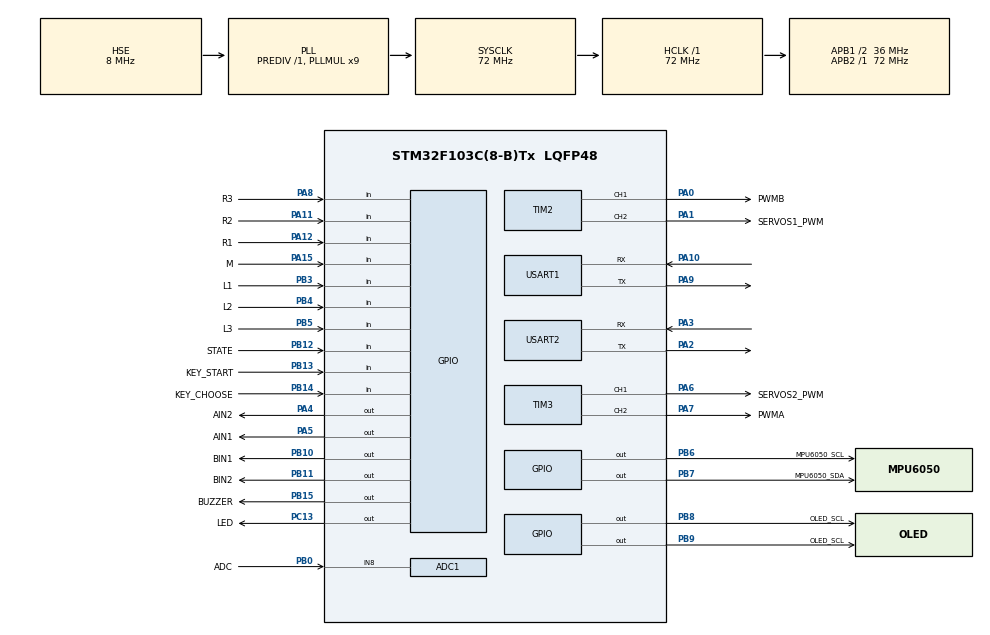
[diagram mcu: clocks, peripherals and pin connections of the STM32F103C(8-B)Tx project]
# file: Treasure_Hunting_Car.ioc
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ADC1.Channel-0\#ChannelRegularConversion=ADC_CHANNEL_8
ADC1.NbrOfConversionFlag=1
ADC1.Rank-0\#ChannelRegularConversion=1
ADC1.SamplingTime-0\#ChannelRegularConversion=ADC_SAMPLETIME_1CYCLE_5
ADC1.master=1
Mcu.Family=STM32F1
Mcu.Name=STM32F103C(8-B)Tx
Mcu.Package=LQFP48
NVIC.PriorityGroup=NVIC_PRIORITYGROUP_4
NVIC.USART1_IRQn=true\:0\:0\:false\:false\:true\:true\:true\:true
NVIC.USART2_IRQn=true\:0\:0\:false\:false\:true\:true\:true\:true
PA0-WKUP.GPIO_Label=PWMB
PA0-WKUP.Signal=S_TIM2_CH1_ETR
PA1.GPIO_Label=SERVOS1_PWM
PA1.Signal=S_TIM2_CH2
PA10.Mode=Asynchronous
PA10.Signal=USART1_RX
PA11.GPIO_Label=R2
PA11.Signal=GPIO_Input
PA12.GPIO_Label=R1
PA12.Signal=GPIO_Input
PA13.Mode=Serial_Wire
PA13.Signal=SYS_JTMS-SWDIO
PA14.Mode=Serial_Wire
PA14.Signal=SYS_JTCK-SWCLK
PA15.GPIO_Label=M
PA15.Signal=GPIO_Input
PA2.Mode=Asynchronous
PA2.Signal=USART2_TX
PA3.Mode=Asynchronous
PA3.Signal=USART2_RX
PA4.GPIO_Label=AIN2
PA4.Signal=GPIO_Output
PA5.GPIO_Label=AIN1
PA5.Signal=GPIO_Output
PA6.GPIO_Label=SERVOS2_PWM
PA6.Signal=S_TIM3_CH1
PA7.GPIO_Label=PWMA
PA7.Signal=S_TIM3_CH2
PA8.GPIO_Label=R3
PA8.Signal=GPIO_Input
PA9.Mode=Asynchronous
PA9.Signal=USART1_TX
PB0.GPIO_Label=ADC
PB0.Signal=ADCx_IN8
PB10.GPIO_Label=BIN1
PB10.Signal=GPIO_Output
PB11.GPIO_Label=BIN2
PB11.Signal=GPIO_Output
PB12.GPIO_Label=STATE
PB12.Signal=GPIO_Input
PB13.GPIO_Label=KEY_START
PB13.GPIO_PuPd=GPIO_PULLUP
PB13.Signal=GPIO_Input
PB14.GPIO_Label=KEY_CHOOSE
PB14.GPIO_PuPd=GPIO_PULLUP
PB14.Signal=GPIO_Input
PB15.GPIO_Label=BUZZER
PB15.Signal=GPIO_Output
PB3.GPIO_Label=L1
PB3.Signal=GPIO_Input
PB4.GPIO_Label=L2
PB4.Signal=GPIO_Input
PB5.GPIO_Label=L3
PB5.Signal=GPIO_Input
PB6.GPIO_Label=MPU6050_SCL
PB6.Signal=GPIO_Output
PB7.GPIO_Label=MPU6050_SDA
PB7.Signal=GPIO_Output
PB8.GPIO_Label=OLED_SCL
PB8.GPIO_ModeDefaultOutputPP=GPIO_MODE_OUTPUT_OD
PB8.GPIO_PuPd=GPIO_NOPULL
PB8.GPIO_Speed=GPIO_SPEED_FREQ_HIGH
PB8.PinState=GPIO_PIN_SET
PB8.Signal=GPIO_Output
PB9.GPIO_Label=OLED_SCL
PB9.GPIO_ModeDefaultOutputPP=GPIO_MODE_OUTPUT_OD
PB9.GPIO_PuPd=GPIO_NOPULL
PB9.GPIO_Speed=GPIO_SPEED_FREQ_HIGH
PB9.PinState=GPIO_PIN_SET
PB9.Signal=GPIO_Output
PC13-TAMPER-RTC.GPIO_Label=LED
PC13-TAMPER-RTC.Signal=GPIO_Output
PD0-OSC_IN.Mode=HSE-External-Oscillator
PD0-OSC_IN.Signal=RCC_OSC_IN
PD1-OSC_OUT.Mode=HSE-External-Oscillator
PD1-OSC_OUT.Signal=RCC_OSC_OUT
ProjectManager.HeapSize=0x200
ProjectManager.StackSize=0x400
ProjectManager.TargetToolchain=MDK-ARM V5.32
RCC.ADCPresc=RCC_ADCPCLK2_DIV6
RCC.AHBFreq_Value=72000000
RCC.APB1CLKDivider=RCC_HCLK_DIV2
RCC.APB1Freq_Value=36000000
RCC.APB1TimFreq_Value=72000000
RCC.APB2Freq_Value=72000000
RCC.APB2TimFreq_Value=72000000
RCC.HCLKFreq_Value=72000000
RCC.PLLMUL=RCC_PLL_MUL9
RCC.PLLSourceVirtual=RCC_PLLSOURCE_HSE
RCC.SYSCLKFreq_VALUE=72000000
RCC.SYSCLKSource=RCC_SYSCLKSOURCE_PLLCLK
RCC.USBFreq_Value=72000000
SH.ADCx_IN8.0=ADC1_IN8,IN8
SH.S_TIM2_CH1_ETR.0=TIM2_CH1,PWM Generation1 CH1
SH.S_TIM2_CH2.0=TIM2_CH2,PWM Generation2 CH2
SH.S_TIM3_CH1.0=TIM3_CH1,PWM Generation1 CH1
SH.S_TIM3_CH2.0=TIM3_CH2,PWM Generation2 CH2
TIM2.Channel-PWM\ Generation1\ CH1=TIM_CHANNEL_1
TIM2.Channel-PWM\ Generation2\ CH2=TIM_CHANNEL_2
TIM3.Channel-PWM\ Generation1\ CH1=TIM_CHANNEL_1
TIM3.Channel-PWM\ Generation2\ CH2=TIM_CHANNEL_2
USART1.VirtualMode=VM_ASYNC
USART2.VirtualMode=VM_ASYNC
VP_TIM2_VS_ClockSourceINT.Mode=Internal
board=custom

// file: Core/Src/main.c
/* USER CODE BEGIN Header */
/**
  ******************************************************************************
  * @file           : main.c
  * @brief          : Main program body
  ******************************************************************************
  * @attention
  *
  * Copyright (c) 2023 STMicroelectronics.
  * All rights reserved.
  *
  * This software is licensed under terms that can be found in the LICENSE file
  * in the root directory of this software component.
  * If no LICENSE file comes with this software, it is provided AS-IS.
  *
  ******************************************************************************
  */
/* USER CODE END Header */
#include "main.h"
#include "adc.h"
#include "tim.h"
#include "usart.h"
#include "gpio.h"

/* USER CODE BEGIN Includes */
#include "OLED.h"
#include "delay.h"
#include "string.h"
#include "mpu6050.h"
/* USER CODE END Includes */

void SystemClock_Config(void);

int main(void)
{

  /* MCU Configuration--------------------------------------------------------*/

  /* Reset of all peripherals, Initializes the Flash interface and the Systick. */
  HAL_Init();

  /* Configure the system clock */
  SystemClock_Config();

  /* Initialize all configured peripherals */
  MX_GPIO_Init();
  MX_ADC1_Init();
  MX_TIM2_Init();
  MX_TIM3_Init();
  MX_USART1_UART_Init();
  MX_USART2_UART_Init();
  /* USER CODE BEGIN 2 */
	delay_init(72);
	IIC_Init();
	MPU6050_initialize();     //=====MPU6050初始化
	DMP_Init();
	OLED_Init();
	float Pitch,Roll,Yaw;
	char string[8];
  /* USER CODE END 2 */

  /* Infinite loop */
  while (1)
  {

    /* USER CODE BEGIN 3 */
	  Read_DMP(&Pitch,&Roll,&Yaw);
	  sprintf((char *)string,"%.3f",Pitch);
	  OLED_ShowString(1,1,string);
	  sprintf((char *)string,"%.3f",Roll);
	  OLED_ShowString(2,1,string);
	  sprintf((char *)string,"%.3f",Yaw);
	  OLED_ShowString(3,1,string);
	  HAL_Delay(50);
  }
  /* USER CODE END 3 */
}

void SystemClock_Config(void)
{
  RCC_OscInitTypeDef RCC_OscInitStruct = {0};
  RCC_ClkInitTypeDef RCC_ClkInitStruct = {0};
  RCC_PeriphCLKInitTypeDef PeriphClkInit = {0};

  /** Initializes the RCC Oscillators according to the specified parameters
  * in the RCC_OscInitTypeDef structure.
  */
  RCC_OscInitStruct.OscillatorType = RCC_OSCILLATORTYPE_HSE;
  RCC_OscInitStruct.HSEState = RCC_HSE_ON;
  RCC_OscInitStruct.HSEPredivValue = RCC_HSE_PREDIV_DIV1;
  RCC_OscInitStruct.HSIState = RCC_HSI_ON;
  RCC_OscInitStruct.PLL.PLLState = RCC_PLL_ON;
  RCC_OscInitStruct.PLL.PLLSource = RCC_PLLSOURCE_HSE;
  RCC_OscInitStruct.PLL.PLLMUL = RCC_PLL_MUL9;
  if (HAL_RCC_OscConfig(&RCC_OscInitStruct) != HAL_OK)
  {
    Error_Handler();
  }

  /** Initializes the CPU, AHB and APB buses clocks
  */
  RCC_ClkInitStruct.ClockType = RCC_CLOCKTYPE_HCLK|RCC_CLOCKTYPE_SYSCLK
                              |RCC_CLOCKTYPE_PCLK1|RCC_CLOCKTYPE_PCLK2;
  RCC_ClkInitStruct.SYSCLKSource = RCC_SYSCLKSOURCE_PLLCLK;
  RCC_ClkInitStruct.AHBCLKDivider = RCC_SYSCLK_DIV1;
  RCC_ClkInitStruct.APB1CLKDivider = RCC_HCLK_DIV2;
  RCC_ClkInitStruct.APB2CLKDivider = RCC_HCLK_DIV1;

  if (HAL_RCC_ClockConfig(&RCC_ClkInitStruct, FLASH_LATENCY_2) != HAL_OK)
  {
    Error_Handler();
  }
  PeriphClkInit.PeriphClockSelection = RCC_PERIPHCLK_ADC;
  PeriphClkInit.AdcClockSelection = RCC_ADCPCLK2_DIV6;
  if (HAL_RCCEx_PeriphCLKConfig(&PeriphClkInit) != HAL_OK)
  {
    Error_Handler();
  }
}

void Error_Handler(void)
{
  __disable_irq();
  while (1)
  {
  }
}
